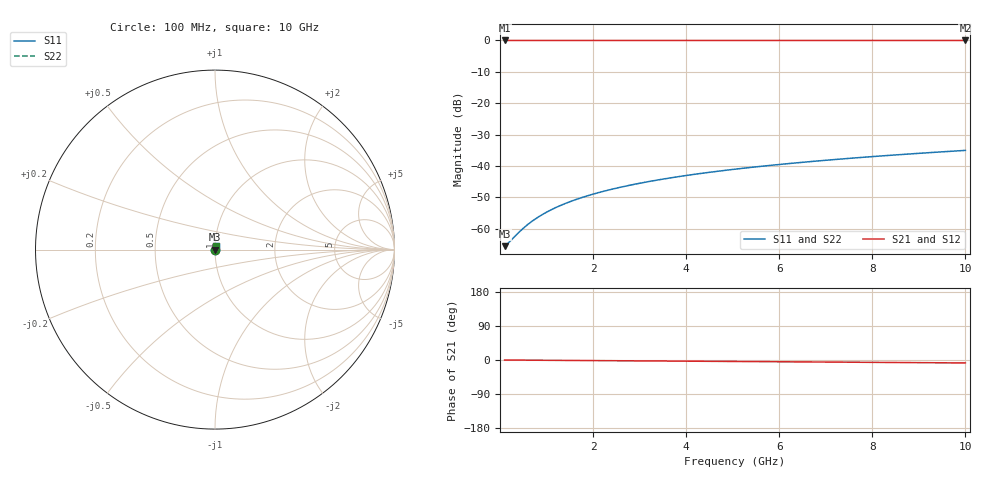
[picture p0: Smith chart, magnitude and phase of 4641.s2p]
# Hz S RI R 50.00
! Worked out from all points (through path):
!   100 points, 100 MHz to 10 GHz, reference 50 ohm
!   highest |S21| = 0.00 dB at 100 MHz (marker M1); lowest = 0.0 dB at 10 GHz (marker M2)
!   group delay of S21, straight-line fit = 2.15 ps
!   lowest |S11| = -65.6 dB at 100 MHz (marker M3), VSWR 1.00, Z = 50 + j0.0175 ohm
!   |S11| at or under -10 dB: start of sweep to end of sweep
!   |S22| runs from -65.6 to -35.1 dB; largest |S21 - S12| = 0
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1e8  0.000495 0.000175  0.9995 -0.00134  0.9995 -0.00134  0.000495 0.000175
2e8  0.000499 0.00035  0.9995 -0.00268  0.9995 -0.00268  0.000499 0.00035
4e8  0.000505 0.0007  0.9995 -0.00536  0.9995 -0.00536  0.000505 0.0007
5e8  0.000508 0.000875  0.9995 -0.0067  0.9995 -0.0067  0.000508 0.000875
6e8  0.000512 0.00105  0.9995 -0.00804  0.9995 -0.00804  0.000512 0.00105
7e8  0.000516 0.00122  0.9994 -0.00938  0.9994 -0.00938  0.000516 0.00122
8e8  0.00052 0.0014  0.9994 -0.0107  0.9994 -0.0107  0.00052 0.0014
1e9  0.00053 0.00175  0.9994 -0.0134  0.9994 -0.0134  0.00053 0.00175
1.2e9  0.000541 0.0021  0.9993 -0.0161  0.9993 -0.0161  0.000541 0.0021
1.5e9  0.000561 0.00262  0.9993 -0.0201  0.9993 -0.0201  0.000561 0.00262
1.8e9  0.000585 0.00315  0.9992 -0.0241  0.9992 -0.0241  0.000585 0.00315
2.1e9  0.000613 0.00367  0.9991 -0.0282  0.9991 -0.0282  0.000613 0.00367
2.5e9  0.000657 0.00437  0.9989 -0.0335  0.9989 -0.0335  0.000657 0.00437
2.9e9  0.000708 0.00506  0.9987 -0.0389  0.9987 -0.0389  0.000708 0.00506
3.4e9  0.000783 0.00593  0.9984 -0.0456  0.9984 -0.0456  0.000783 0.00593
4.2e9  0.000926 0.00732  0.9978 -0.0564  0.9978 -0.0564  0.000926 0.00732
5.1e9  0.00112 0.00888  0.997 -0.0685  0.997 -0.0685  0.00112 0.00888
5.9e9  0.00133 0.0103  0.9962 -0.0793  0.9962 -0.0793  0.00133 0.0103
6.7e9  0.00157 0.0117  0.9953 -0.0901  0.9953 -0.0901  0.00157 0.0117
7.5e9  0.00184 0.0131  0.9942 -0.1009  0.9942 -0.1009  0.00184 0.0131
8.4e9  0.00218 0.0146  0.9929 -0.1131  0.9929 -0.1131  0.00218 0.0146
1e10  0.00289 0.0174  0.9901 -0.1348  0.9901 -0.1348  0.00289 0.0174
